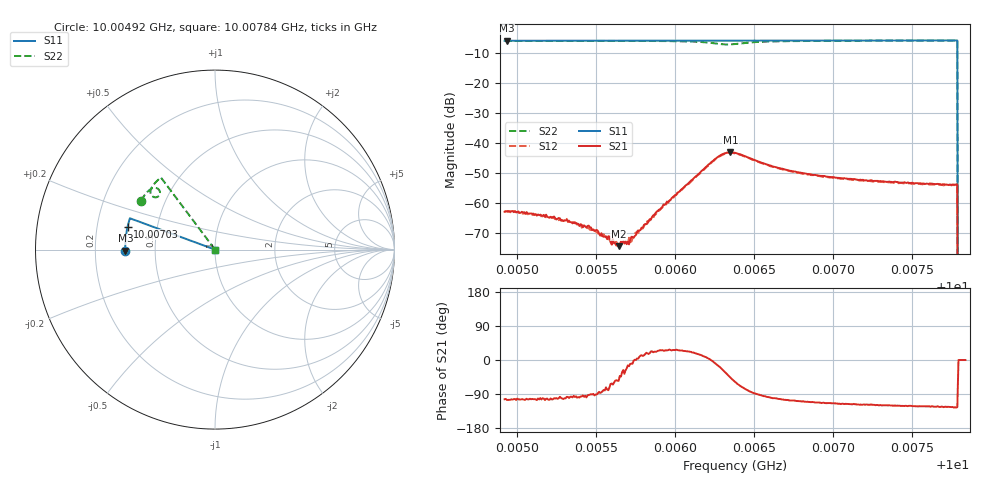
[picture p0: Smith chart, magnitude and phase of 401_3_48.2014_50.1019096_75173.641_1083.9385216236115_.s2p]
#  HZ  S  RI  R  50.00
! Rohde & Schwarz Vector Network Analyzer
! Rohde-Schwarz,ZNB20-2Port,1311601062101988,3.16
! Created: UTC 3/20/2024, 11:54:02 AM
! freq[Hz]  re:S11  im:S11  re:S21  im:S21  re:S12  im:S12  re:S22  im:S22
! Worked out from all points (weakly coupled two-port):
!   401 points, 10.00492 GHz to 10.00784 GHz, reference 50 ohm
!   highest |S21| = -43.07 dB at 10.00635 GHz (marker M1); lowest = -74.2 dB at 10.00564 GHz (marker M2)
!   lowest |S11| = -6.0 dB at 10.00494 GHz (marker M3), VSWR 2.99, Z = 16.7 - j0.281 ohm
!   |S11| at or under -10 dB: 10.00779 GHz to end of sweep
!   |S22| runs from - to -6.0 dB; largest |S21 - S12| = 0.00042
!   S11 on the Smith chart (normalised r, x): 10.00492 GHz: 0.33, -0.01; 10.00703 GHz: 0.33, +0.11; 10.00784 GHz: 1.00, +0.00
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1.0004923e10  -0.4994 -0.0074  -0.000169 -0.000705  -0.000124 -0.000719  -0.4121 0.273
1.0004937e10  -0.4993 -0.00631  -0.000196 -0.000708  -0.00014 -0.000723  -0.4116 0.2739
1.0005214e10  -0.4999 0.0117  -0.000119 -0.000589  -6.53e-05 -0.00059  -0.4014 0.2901
1.0005411e10  -0.4998 0.0244  -4.77e-05 -0.000435  -1.22e-05 -0.000395  -0.3931 0.3017
1.0005462e10  -0.4997 0.0277  -1.24e-05 -0.000403  -1.82e-05 -0.000365  -0.3908 0.3049
1.0005608e10  -0.4994 0.0373  0.000109 -0.000232  0.000102 -0.000227  -0.3837 0.3137
1.0005644e10  -0.4993 0.0395  0.000112 -0.000159  0.000152 -0.000155  -0.3821 0.316
1.0005695e10  -0.4991 0.0427  0.000195 -7.92e-05  0.000204 -0.000107  -0.3792 0.3192
1.0005717e10  -0.4991 0.0444  0.000242 -4.49e-05  0.000224 -4.53e-05  -0.3779 0.3207
1.0005746e10  -0.499 0.0462  0.000287 4.22e-06  0.000317 1.87e-05  -0.3763 0.3223
1.0005899e10  -0.4982 0.0561  0.000716 0.000328  0.000694 0.000342  -0.3656 0.3324
1.0006249e10  -0.4954 0.0787  0.00527 -0.000594  0.00517 -0.000356  -0.3103 0.3307
1.0006307e10  -0.4947 0.0819  0.00587 -0.00311  0.00588 -0.00276  -0.3077 0.3084
1.0006351e10  -0.4945 0.0846  0.00486 -0.00507  0.005 -0.0047  -0.3198 0.2941
1.000638e10  -0.4943 0.0862  0.00371 -0.00582  0.00392 -0.00552  -0.3311 0.2911
1.0006628e10  -0.4922 0.1022  -0.000747 -0.00398  -0.000548 -0.00397  -0.3588 0.3302
1.0006868e10  -0.4894 0.1176  -0.00107 -0.00281  -0.00095 -0.00278  -0.3483 0.3532
1.0007028e10  -0.4873 0.1277  -0.00112 -0.00241  -0.000968 -0.00242  -0.3404 0.3639
1.0007356e10  -0.482 0.1481  -0.00113 -0.002  -0.00103 -0.00199  -0.3238 0.3821
1.0007772e10  -0.4744 0.1737  -0.00116 -0.00167  -0.00105 -0.00171  -0.3027 0.4018
1.0007808e10  0 0  0 0  0 0  0 0
1.0007837e10  0 0  0 0  0 0  0 0
